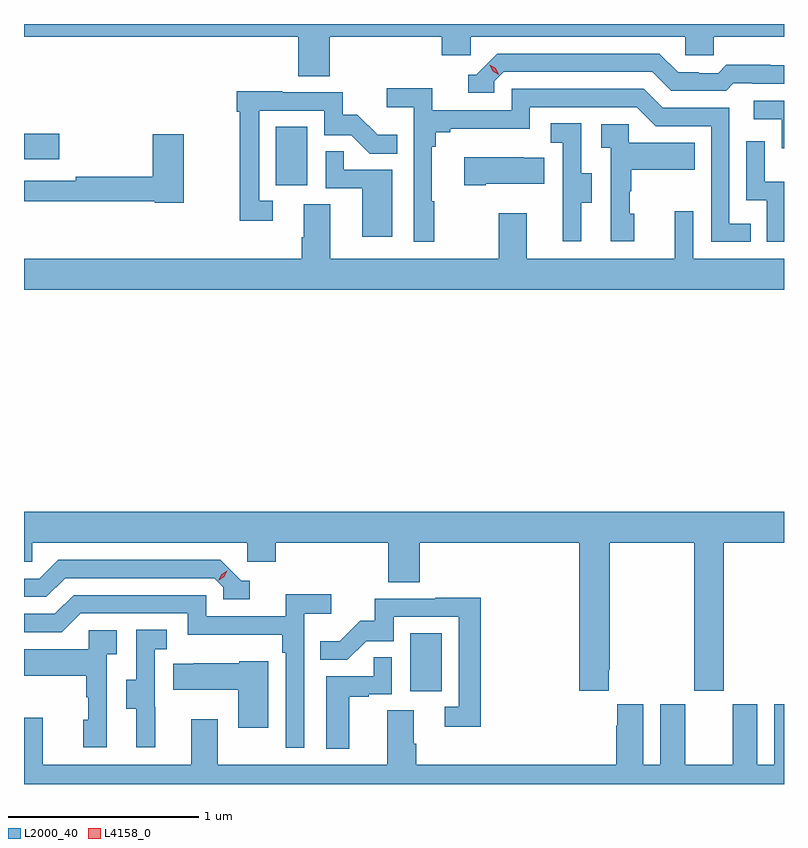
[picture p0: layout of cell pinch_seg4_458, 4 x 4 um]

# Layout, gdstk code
import gdstk
lib = gdstk.Library(unit=1e-6, precision=1e-09)
def R(c, l, rs):  # rectangles x0, y0, x1, y1
    for r in rs: c.add(gdstk.rectangle(r[:2], r[2:], *l))
def P(c, l, *ps):  # polygons
    for p in ps: c.add(gdstk.Polygon(p, *l))
L2000_40 = (2000, 40)
L4158_0 = (4158, 0)

pinch_seg4_458 = lib.new_cell('pinch_seg4_458')
R(pinch_seg4_458, L2000_40, [(902.18,761.406,902.344,761.713), (901.472,764.07,901.636,764.377), (900.146,764.207,900.331,764.342)])
P(pinch_seg4_458, L2000_40, [(901.754,764.852),(902.345,764.852),(902.345,764.754),(902.496,764.754),(902.496,764.852),(903.627,764.852),(903.627,764.754),(903.777,764.754),(903.777,764.852),(904.146,764.852),(904.146,764.919),(900.146,764.919),(900.146,764.852),(901.589,764.852),(901.589,764.644),(901.754,764.644)],
  [(902.622,764.619),(902.67,764.667),(903.453,764.667),(903.552,764.568),(903.841,764.568),(903.88,764.607),(903.979,764.607),(903.979,764.604),(904.146,764.604),(904.146,764.701),(904.074,764.701),(904.074,764.704),(903.841,764.704),(903.799,764.661),(903.696,764.661),(903.696,764.664),(903.589,764.664),(903.49,764.763),(902.637,764.763),(902.526,764.652),(902.483,764.652),(902.483,764.556),(902.622,764.556)],
  [(902.305,763.985),(902.293,763.985),(902.293,764.273),(902.312,764.273),(902.312,764.35),(902.389,764.35),(902.389,764.369),(902.808,764.369),(902.808,764.481),(903.372,764.481),(903.471,764.382),(903.762,764.382),(903.762,763.773),(903.971,763.773),(903.971,763.869),(903.858,763.869),(903.858,764.478),(903.508,764.478),(903.409,764.577),(902.712,764.577),(902.712,764.466),(902.294,764.466),(902.294,764.582),(902.055,764.582),(902.055,764.48),(902.196,764.48),(902.196,763.773),(902.305,763.773)],
  [(901.456,763.989),(901.383,763.989),(901.383,764.463),(901.725,764.463),(901.725,764.334),(901.869,764.334),(901.967,764.236),(902.111,764.236),(902.111,764.335),(902.007,764.335),(901.9,764.442),(901.824,764.442),(901.824,764.559),(901.505,764.559),(901.505,764.564),(901.267,764.564),(901.267,764.456),(901.282,764.456),(901.282,763.884),(901.456,763.884)],
  [(904.146,764.514),(903.987,764.514),(903.987,764.418),(904.134,764.418),(904.134,764.265),(904.146,764.265)],
  [(903.079,763.978),(903.133,763.978),(903.133,764.133),(903.078,764.133),(903.078,764.396),(902.919,764.396),(902.919,764.293),(902.982,764.293),(902.982,763.989),(902.981,763.989),(902.981,763.776),(903.079,763.776)],
  [(903.358,763.92),(903.333,763.92),(903.333,764.039),(903.343,764.039),(903.343,764.153),(903.677,764.153),(903.677,764.293),(903.33,764.293),(903.33,764.391),(903.183,764.391),(903.183,764.267),(903.234,764.267),(903.234,763.776),(903.358,763.776)],
  [(900.988,764.338),(900.823,764.338),(900.823,764.114),(900.418,764.114),(900.418,764.094),(900.146,764.094),(900.146,763.986),(900.834,763.986),(900.834,763.978),(900.988,763.978)],
  [(904.146,764.09),(904.044,764.09),(904.044,764.302),(903.948,764.302),(903.948,763.992),(904.056,763.992),(904.056,763.773),(904.146,763.773)],
  [(902.083,764.151),(901.829,764.151),(901.829,764.249),(901.734,764.249),(901.734,764.055),(901.925,764.055),(901.925,763.8),(902.083,763.8)],
  [(902.575,764.078),(902.885,764.078),(902.885,764.215),(902.777,764.215),(902.777,764.218),(902.463,764.218),(902.463,764.071),(902.575,764.071)],
  [(904.146,763.684),(903.669,763.684),(903.669,763.933),(903.572,763.933),(903.572,763.684),(902.791,763.684),(902.791,763.924),(902.644,763.924),(902.644,763.684),(901.759,763.684),(901.759,763.97),(901.619,763.97),(901.619,763.796),(901.607,763.796),(901.607,763.684),(900.146,763.684),(900.146,763.52),(904.146,763.52)],
  [(903.223,761.521),(903.228,761.521),(903.228,762.188),(903.673,762.188),(903.673,761.409),(903.828,761.409),(903.828,762.188),(904.146,762.188),(904.146,762.352),(900.146,762.352),(900.146,762.09),(900.189,762.09),(900.189,762.188),(901.32,762.188),(901.32,762.09),(901.472,762.09),(901.472,762.188),(902.063,762.188),(902.063,761.98),(902.228,761.98),(902.228,762.188),(903.068,762.188),(903.068,761.409),(903.223,761.409)],
  [(901.333,761.988),(901.29,761.988),(901.179,762.099),(900.326,762.099),(900.227,762),(900.146,762),(900.146,761.904),(900.264,761.904),(900.363,762.003),(901.146,762.003),(901.194,761.955),(901.194,761.892),(901.333,761.892)],
  [(901.62,761.816),(901.762,761.816),(901.762,761.918),(901.523,761.918),(901.523,761.802),(901.104,761.802),(901.104,761.913),(900.407,761.913),(900.308,761.814),(900.146,761.814),(900.146,761.718),(900.345,761.718),(900.444,761.817),(901.008,761.817),(901.008,761.705),(901.504,761.705),(901.504,761.609),(901.524,761.609),(901.524,761.109),(901.62,761.109)],
  [(902.549,761.9),(902.311,761.9),(902.311,761.895),(901.993,761.895),(901.993,761.778),(901.916,761.778),(901.809,761.671),(901.705,761.671),(901.705,761.572),(901.848,761.572),(901.946,761.67),(902.091,761.67),(902.091,761.799),(902.433,761.799),(902.433,761.325),(902.361,761.325),(902.361,761.22),(902.549,761.22)],
  [(900.836,761.325),(900.834,761.325),(900.834,761.629),(900.898,761.629),(900.898,761.732),(900.738,761.732),(900.738,761.469),(900.683,761.469),(900.683,761.314),(900.737,761.314),(900.737,761.112),(900.836,761.112)],
  [(900.582,761.603),(900.634,761.603),(900.634,761.727),(900.486,761.727),(900.486,761.629),(900.146,761.629),(900.146,761.489),(900.474,761.489),(900.474,761.375),(900.484,761.375),(900.484,761.256),(900.458,761.256),(900.458,761.112),(900.582,761.112)],
  [(901.858,761.379),(901.961,761.379),(901.961,761.391),(902.082,761.391),(902.082,761.585),(901.987,761.585),(901.987,761.487),(901.736,761.487),(901.736,761.105),(901.858,761.105)],
  [(901.432,761.566),(901.278,761.566),(901.278,761.554),(901.039,761.554),(901.039,761.551),(900.931,761.551),(900.931,761.414),(901.274,761.414),(901.274,761.214),(901.432,761.214)],
  [(902.197,761.132),(902.197,761.306),(902.057,761.306),(902.057,761.02),(901.165,761.02),(901.165,761.26),(901.025,761.26),(901.025,761.02),(900.245,761.02),(900.245,761.269),(900.147,761.269),(900.147,761.02),(900.146,761.02),(900.146,760.919),(904.146,760.919),(904.146,761.338),(904.094,761.338),(904.094,761.02),(904.006,761.02),(904.006,761.338),(903.875,761.338),(903.875,761.02),(903.625,761.02),(903.625,761.338),(903.494,761.338),(903.494,761.02),(903.406,761.02),(903.406,761.338),(903.269,761.338),(903.269,761.225),(903.263,761.225),(903.263,761.02),(902.21,761.02),(902.21,761.132)])
P(pinch_seg4_458, L4158_0, [(901.169,761.99),(901.169,761.99),(901.186,762.022),(901.217,762.041),(901.217,762.041),(901.217,762.041),(901.2,762.009),(901.169,761.99)],
  [(902.645,764.652),(902.614,764.671),(902.598,764.704),(902.598,764.704),(902.598,764.704),(902.629,764.685),(902.645,764.652),(902.645,764.652)])

lib.write_gds('pinch_seg4_458.gds')
